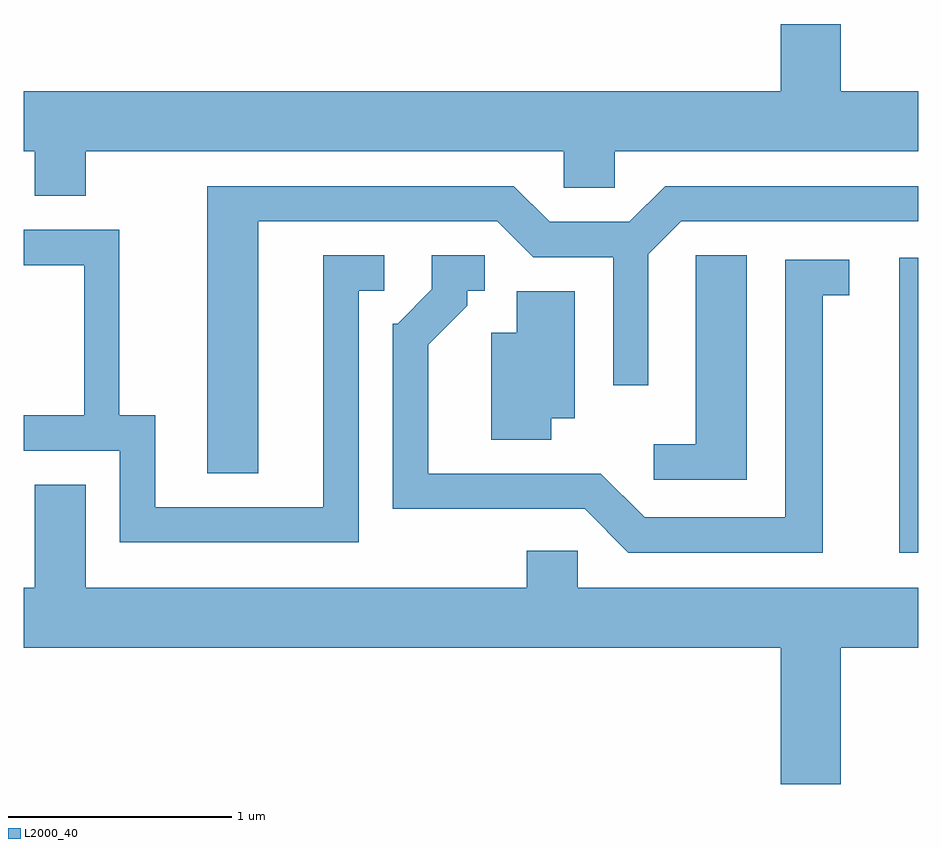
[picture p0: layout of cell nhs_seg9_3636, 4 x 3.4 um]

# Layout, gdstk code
import gdstk
lib = gdstk.Library(unit=1e-6, precision=1e-09)
def R(c, l, rs):  # rectangles x0, y0, x1, y1
    for r in rs: c.add(gdstk.rectangle(r[:2], r[2:], *l))
def P(c, l, *ps):  # polygons
    for p in ps: c.add(gdstk.Polygon(p, *l))
L2000_40 = (2000, 40)

nhs_seg9_3636 = lib.new_cell('nhs_seg9_3636')
R(nhs_seg9_3636, L2000_40, [(295.526,2025.541,295.611,2026.859)])
P(nhs_seg9_3636, L2000_40, [(291.889,2027.336),(294.026,2027.336),(294.026,2027.171),(294.254,2027.171),(294.254,2027.336),(295.611,2027.336),(295.611,2027.604),(295.264,2027.604),(295.264,2027.904),(294.996,2027.904),(294.996,2027.604),(291.611,2027.604),(291.611,2027.336),(291.661,2027.336),(291.661,2027.136),(291.889,2027.136)],
  [(292.659,2027.021),(293.729,2027.021),(293.889,2026.861),(294.246,2026.861),(294.246,2026.288),(294.404,2026.288),(294.404,2026.874),(294.552,2027.021),(295.611,2027.021),(295.611,2027.179),(294.479,2027.179),(294.319,2027.019),(293.962,2027.019),(293.802,2027.179),(292.431,2027.179),(292.431,2025.896),(292.659,2025.896)],
  [(293.109,2026.711),(293.223,2026.711),(293.223,2026.869),(292.951,2026.869),(292.951,2025.744),(292.199,2025.744),(292.199,2026.154),(292.039,2026.154),(292.039,2026.984),(291.611,2026.984),(291.611,2026.826),(291.881,2026.826),(291.881,2026.154),(291.611,2026.154),(291.611,2025.996),(292.041,2025.996),(292.041,2025.586),(293.109,2025.586)],
  [(295.184,2026.691),(295.303,2026.691),(295.303,2026.849),(295.016,2026.849),(295.016,2025.699),(294.387,2025.699),(294.192,2025.894),(293.419,2025.894),(293.419,2026.469),(293.594,2026.644),(293.594,2026.711),(293.673,2026.711),(293.673,2026.869),(293.436,2026.869),(293.436,2026.717),(293.284,2026.564),(293.261,2026.564),(293.261,2025.736),(294.119,2025.736),(294.314,2025.541),(295.184,2025.541)],
  [(294.844,2026.869),(294.616,2026.869),(294.616,2026.024),(294.428,2026.024),(294.428,2025.866),(294.844,2025.866)],
  [(293.969,2026.141),(294.074,2026.141),(294.074,2026.709),(293.816,2026.709),(293.816,2026.524),(293.701,2026.524),(293.701,2026.046),(293.969,2026.046)],
  [(295.264,2025.116),(295.611,2025.116),(295.611,2025.384),(294.089,2025.384),(294.089,2025.549),(293.861,2025.549),(293.861,2025.384),(291.889,2025.384),(291.889,2025.844),(291.661,2025.844),(291.661,2025.384),(291.611,2025.384),(291.611,2025.116),(294.996,2025.116),(294.996,2024.506),(295.264,2024.506)])

lib.write_gds('nhs_seg9_3636.gds')
